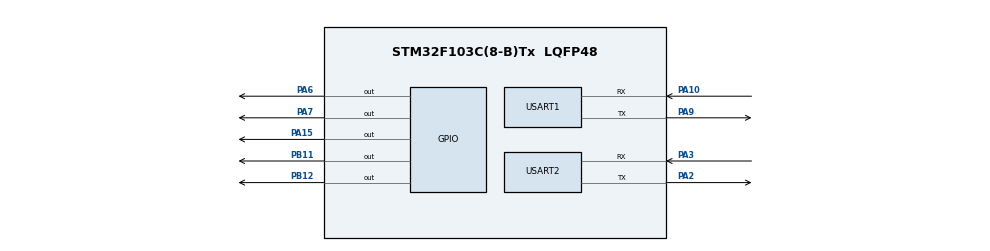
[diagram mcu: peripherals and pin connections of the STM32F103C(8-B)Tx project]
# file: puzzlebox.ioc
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Mcu.Family=STM32F1
Mcu.Name=STM32F103C(8-B)Tx
Mcu.Package=LQFP48
NVIC.PriorityGroup=NVIC_PRIORITYGROUP_4
PA10.Mode=Asynchronous
PA10.Signal=USART1_RX
PA13.Mode=Serial_Wire
PA13.Signal=SYS_JTMS-SWDIO
PA14.Mode=Serial_Wire
PA14.Signal=SYS_JTCK-SWCLK
PA15.Signal=GPIO_Output
PA2.Mode=Asynchronous
PA2.Signal=USART2_TX
PA3.Mode=Asynchronous
PA3.Signal=USART2_RX
PA6.Signal=GPIO_Output
PA7.Signal=GPIO_Output
PA9.Mode=Asynchronous
PA9.Signal=USART1_TX
PB11.Signal=GPIO_Output
PB12.Signal=GPIO_Output
ProjectManager.HeapSize=0x200
ProjectManager.StackSize=0x400
ProjectManager.TargetToolchain=STM32CubeIDE
RCC.APB1Freq_Value=8000000
RCC.APB2Freq_Value=8000000
USART1.VirtualMode=VM_ASYNC
USART2.VirtualMode=VM_ASYNC
board=custom

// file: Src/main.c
/* USER CODE BEGIN Header */
/**
  ******************************************************************************
  * @file           : main.c
  * @brief          : Main program body
  ******************************************************************************
  * @attention
  *
  * <h2><center>&copy; Copyright (c) 2019 STMicroelectronics.
  * All rights reserved.</center></h2>
  *
  * This software component is licensed by ST under BSD 3-Clause license,
  * the "License"; You may not use this file except in compliance with the
  * License. You may obtain a copy of the License at:
  *                        opensource.org/licenses/BSD-3-Clause
  *
  ******************************************************************************
  */
/* USER CODE END Header */

#include "main.h"

UART_HandleTypeDef huart1;
UART_HandleTypeDef huart2;

void SystemClock_Config(void);
static void MX_GPIO_Init(void);
static void MX_USART1_UART_Init(void);
static void MX_USART2_UART_Init(void);
/* USER CODE BEGIN PFP */

void open(void);
void close(void);

/* USER CODE END PFP */

/* USER CODE BEGIN 0 */

void open(void)
{
	HAL_GPIO_WritePin(GPIOA, GPIO_PIN_15, GPIO_PIN_RESET);
    HAL_Delay(100);
    for(int i = 0; i < 50; i++)
    {
		HAL_GPIO_WritePin(GPIOA, GPIO_PIN_6, GPIO_PIN_SET);
	    HAL_Delay(2);
		HAL_GPIO_WritePin(GPIOA, GPIO_PIN_6, GPIO_PIN_RESET);
	    HAL_Delay(18);
    }
	HAL_GPIO_WritePin(GPIOA, GPIO_PIN_15, GPIO_PIN_SET);
}

void close(void)
{
	HAL_GPIO_WritePin(GPIOA, GPIO_PIN_15, GPIO_PIN_RESET);
    HAL_Delay(100);
    for(int i = 0; i < 50; i++)
    {
		HAL_GPIO_WritePin(GPIOA, GPIO_PIN_6, GPIO_PIN_SET);
	    HAL_Delay(1);
		HAL_GPIO_WritePin(GPIOA, GPIO_PIN_6, GPIO_PIN_RESET);
	    HAL_Delay(19);
    }
	HAL_GPIO_WritePin(GPIOA, GPIO_PIN_15, GPIO_PIN_SET);
}

/* USER CODE END 0 */

int main(void)
{

  /* MCU Configuration--------------------------------------------------------*/

  /* Reset of all peripherals, Initializes the Flash interface and the Systick. */
  HAL_Init();

  /* Configure the system clock */
  SystemClock_Config();

  /* Initialize all configured peripherals */
  MX_GPIO_Init();
  MX_USART1_UART_Init();
  MX_USART2_UART_Init();

  /* Infinite loop */
  while (1)
  {
	  close();
	  HAL_Delay(2000);
	  open();
	  HAL_Delay(2000);
  }
}

void SystemClock_Config(void)
{
  RCC_OscInitTypeDef RCC_OscInitStruct = {0};
  RCC_ClkInitTypeDef RCC_ClkInitStruct = {0};

  /** Initializes the CPU, AHB and APB busses clocks
  */
  RCC_OscInitStruct.OscillatorType = RCC_OSCILLATORTYPE_HSI;
  RCC_OscInitStruct.HSIState = RCC_HSI_ON;
  RCC_OscInitStruct.HSICalibrationValue = RCC_HSICALIBRATION_DEFAULT;
  RCC_OscInitStruct.PLL.PLLState = RCC_PLL_NONE;
  if (HAL_RCC_OscConfig(&RCC_OscInitStruct) != HAL_OK)
  {
    Error_Handler();
  }
  /** Initializes the CPU, AHB and APB busses clocks
  */
  RCC_ClkInitStruct.ClockType = RCC_CLOCKTYPE_HCLK|RCC_CLOCKTYPE_SYSCLK
                              |RCC_CLOCKTYPE_PCLK1|RCC_CLOCKTYPE_PCLK2;
  RCC_ClkInitStruct.SYSCLKSource = RCC_SYSCLKSOURCE_HSI;
  RCC_ClkInitStruct.AHBCLKDivider = RCC_SYSCLK_DIV1;
  RCC_ClkInitStruct.APB1CLKDivider = RCC_HCLK_DIV1;
  RCC_ClkInitStruct.APB2CLKDivider = RCC_HCLK_DIV1;

  if (HAL_RCC_ClockConfig(&RCC_ClkInitStruct, FLASH_LATENCY_0) != HAL_OK)
  {
    Error_Handler();
  }
}

static void MX_USART1_UART_Init(void)
{

  huart1.Instance = USART1;
  huart1.Init.BaudRate = 115200;
  huart1.Init.WordLength = UART_WORDLENGTH_8B;
  huart1.Init.StopBits = UART_STOPBITS_1;
  huart1.Init.Parity = UART_PARITY_NONE;
  huart1.Init.Mode = UART_MODE_TX_RX;
  huart1.Init.HwFlowCtl = UART_HWCONTROL_NONE;
  huart1.Init.OverSampling = UART_OVERSAMPLING_16;
  if (HAL_UART_Init(&huart1) != HAL_OK)
  {
    Error_Handler();
  }

}

static void MX_USART2_UART_Init(void)
{

  huart2.Instance = USART2;
  huart2.Init.BaudRate = 115200;
  huart2.Init.WordLength = UART_WORDLENGTH_8B;
  huart2.Init.StopBits = UART_STOPBITS_1;
  huart2.Init.Parity = UART_PARITY_NONE;
  huart2.Init.Mode = UART_MODE_TX_RX;
  huart2.Init.HwFlowCtl = UART_HWCONTROL_NONE;
  huart2.Init.OverSampling = UART_OVERSAMPLING_16;
  if (HAL_UART_Init(&huart2) != HAL_OK)
  {
    Error_Handler();
  }

}

static void MX_GPIO_Init(void)
{
  GPIO_InitTypeDef GPIO_InitStruct = {0};

  /* GPIO Ports Clock Enable */
  __HAL_RCC_GPIOA_CLK_ENABLE();
  __HAL_RCC_GPIOB_CLK_ENABLE();

  /*Configure GPIO pin Output Level */
  HAL_GPIO_WritePin(GPIOA, GPIO_PIN_6|GPIO_PIN_7|GPIO_PIN_15, GPIO_PIN_RESET);

  /*Configure GPIO pin Output Level */
  HAL_GPIO_WritePin(GPIOB, GPIO_PIN_11|GPIO_PIN_12, GPIO_PIN_RESET);

  /*Configure GPIO pins : PA6 PA7 PA15 */
  GPIO_InitStruct.Pin = GPIO_PIN_6|GPIO_PIN_7|GPIO_PIN_15;
  GPIO_InitStruct.Mode = GPIO_MODE_OUTPUT_PP;
  GPIO_InitStruct.Pull = GPIO_NOPULL;
  GPIO_InitStruct.Speed = GPIO_SPEED_FREQ_LOW;
  HAL_GPIO_Init(GPIOA, &GPIO_InitStruct);

  /*Configure GPIO pins : PB11 PB12 */
  GPIO_InitStruct.Pin = GPIO_PIN_11|GPIO_PIN_12;
  GPIO_InitStruct.Mode = GPIO_MODE_OUTPUT_PP;
  GPIO_InitStruct.Pull = GPIO_NOPULL;
  GPIO_InitStruct.Speed = GPIO_SPEED_FREQ_LOW;
  HAL_GPIO_Init(GPIOB, &GPIO_InitStruct);

}

void Error_Handler(void)
{
}

/************************ (C) COPYRIGHT STMicroelectronics *****END OF FILE****/
